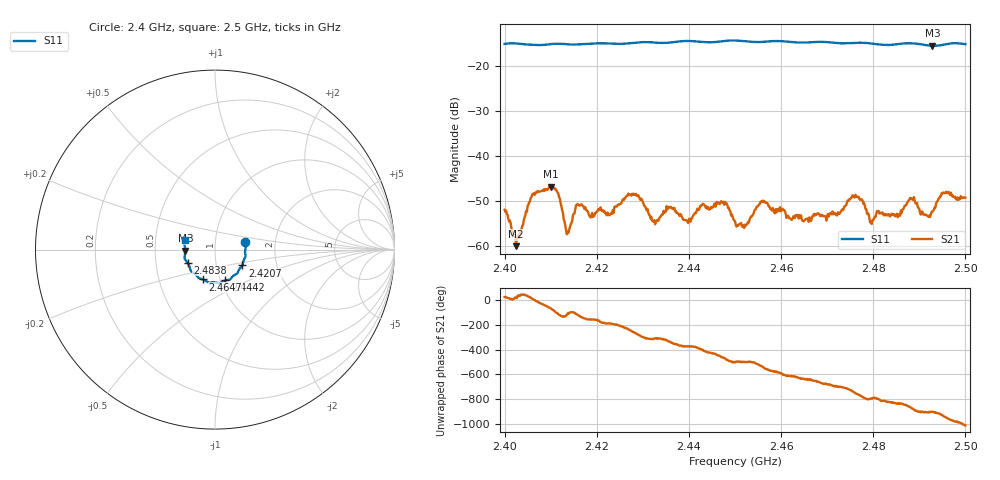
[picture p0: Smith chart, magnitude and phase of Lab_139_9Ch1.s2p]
# Hz S RI R 50
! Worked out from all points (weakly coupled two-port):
!   601 points, 2.4 GHz to 2.5 GHz, reference 50 ohm
!   highest |S21| = -46.89 dB at 2.41 GHz (marker M1); lowest = -60.1 dB at 2.4025 GHz (marker M2)
!   lowest |S11| = -15.6 dB at 2.4928 GHz (marker M3), VSWR 1.40, Z = 35.8 - j0.437 ohm
!   |S11| at or under -10 dB: start of sweep to end of sweep
!   S12 and S22 are empty: the file has one direction only
!   S11 on the Smith chart (normalised r, x): 2.4 GHz: 1.40, +0.12; 2.4207 GHz: 1.33, -0.24; 2.4442 GHz: 1.05, -0.37; 2.4647 GHz: 0.83, -0.29; 2.4838 GHz: 0.73, -0.11; 2.5 GHz: 0.71, +0.07
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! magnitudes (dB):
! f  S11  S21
! 2.4 GHz  -15.2  -52.0
! 2.4025 GHz  -15.1  -60.1
! 2.4062 GHz  -15.4  -48.4
! 2.41 GHz  -15.3  -46.9
! 2.4137 GHz  -15.3  -56.9
! 2.4167 GHz  -15.3  -50.8
! 2.4207 GHz  -15.1  -51.9
! 2.4282 GHz  -15.0  -48.7
! 2.4333 GHz  -15.0  -54.4
! 2.4442 GHz  -14.9  -51.4
! 2.45 GHz  -14.5  -54.6
! 2.456 GHz  -14.8  -50.0
! 2.4647 GHz  -14.9  -54.4
! 2.4667 GHz  -14.8  -53.9
! 2.476 GHz  -15.0  -49.3
! 2.4797 GHz  -15.1  -55.1
! 2.4833 GHz  -15.5  -53.0
! 2.4838 GHz  -15.4  -53.1
! 2.4883 GHz  -15.1  -49.5
! 2.4928 GHz  -15.6  -52.5
! 2.4953 GHz  -15.4  -48.3
! 2.5 GHz  -15.3  -49.3
